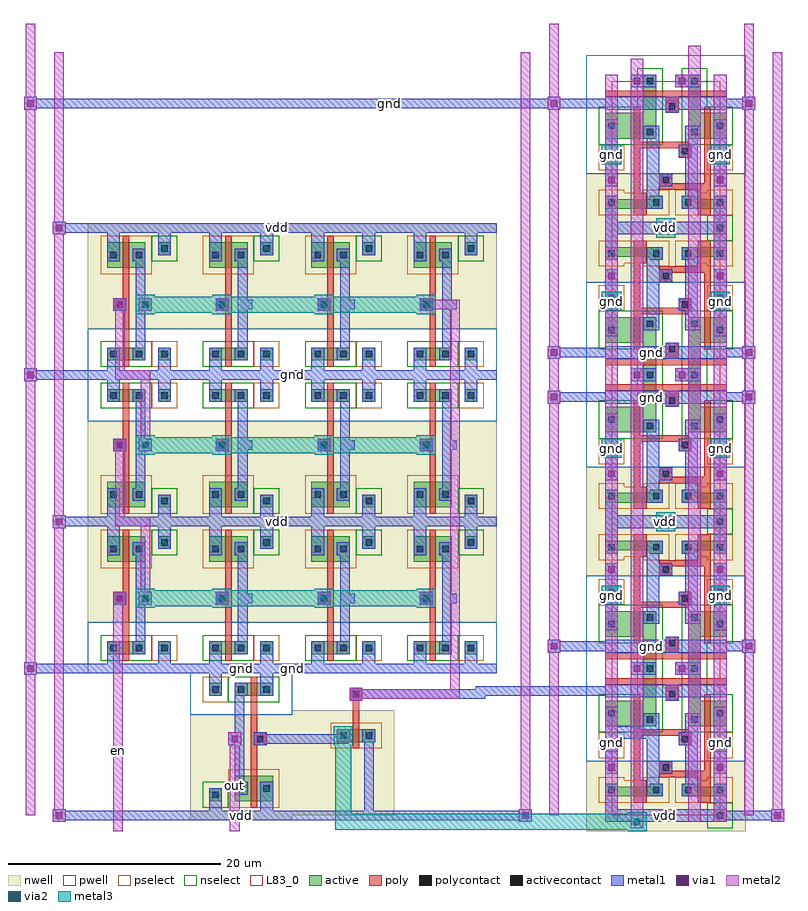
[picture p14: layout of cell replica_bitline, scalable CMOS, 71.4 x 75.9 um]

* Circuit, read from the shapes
.subckt replica_bitline en gnd out vdd
M1 delay_chain_2/pinv_9_1/A en gnd gnd nfet w=1.2u l=0.6u
M2 delay_chain_2/pinv_9_5/A delay_chain_2/pinv_9_1/A gnd gnd nfet w=1.2u l=0.6u
M3 pmos_m1_w1_2_1/G delay_chain_2/pinv_9_5/A gnd gnd nfet w=1.2u l=0.6u
M4 delay_chain_2/pinv_9_1/Z delay_chain_2/pinv_9_1/A gnd gnd nfet w=1.2u l=0.6u
M5 delay_chain_2/pinv_9_5/Z delay_chain_2/pinv_9_5/A gnd gnd nfet w=1.2u l=0.6u
M6 delay_chain_2/pinv_9_9/Z pmos_m1_w1_2_1/G gnd gnd nfet w=1.2u l=0.6u
M7 gnd pinv_10_0/A out gnd nfet w=1.2u l=0.6u
M8 delay_chain_2/pinv_9_2/Z delay_chain_2/pinv_9_1/A gnd gnd nfet w=1.2u l=0.6u
M9 delay_chain_2/pinv_9_6/Z delay_chain_2/pinv_9_5/A gnd gnd nfet w=1.2u l=0.6u
M10 delay_chain_2/pinv_9_10/Z pmos_m1_w1_2_1/G gnd gnd nfet w=1.2u l=0.6u
M11 delay_chain_2/pinv_9_3/Z delay_chain_2/pinv_9_1/A gnd gnd nfet w=1.2u l=0.6u
M12 delay_chain_2/pinv_9_7/Z delay_chain_2/pinv_9_5/A gnd gnd nfet w=1.2u l=0.6u
M13 delay_chain_2/pinv_9_11/Z pmos_m1_w1_2_1/G gnd gnd nfet w=1.2u l=0.6u
M14 gnd n1 gnd gnd nfet w=2.4u l=0.6u
M15 n2 n3 gnd gnd nfet w=2.4u l=0.6u
M16 n4 n5 gnd gnd nfet w=2.4u l=0.6u
M17 n6 n7 gnd gnd nfet w=2.4u l=0.6u
M18 n8 n9 gnd gnd nfet w=2.4u l=0.6u
M19 pinv_10_0/A pmos_m1_w1_2_1/G gnd gnd nfet w=1.2u l=0.6u
M20 n2 gnd pinv_10_0/A gnd nfet w=1.2u l=0.6u
M21 pinv_10_0/A gnd n4 gnd nfet w=1.2u l=0.6u
M22 n6 gnd pinv_10_0/A gnd nfet w=1.2u l=0.6u
M23 pinv_10_0/A gnd n8 gnd nfet w=1.2u l=0.6u
M24 replica_cell_6t_3/BR pmos_m1_w1_2_1/G n1 gnd nfet w=1.2u l=0.6u
M25 n3 gnd replica_cell_6t_3/BR gnd nfet w=1.2u l=0.6u
M26 replica_cell_6t_3/BR gnd n5 gnd nfet w=1.2u l=0.6u
M27 n7 gnd replica_cell_6t_3/BR gnd nfet w=1.2u l=0.6u
M28 replica_cell_6t_3/BR gnd n9 gnd nfet w=1.2u l=0.6u
M29 gnd gnd n1 gnd nfet w=2.4u l=0.6u
M30 gnd n2 n3 gnd nfet w=2.4u l=0.6u
M31 gnd n4 n5 gnd nfet w=2.4u l=0.6u
M32 gnd n6 n7 gnd nfet w=2.4u l=0.6u
M33 gnd n8 n9 gnd nfet w=2.4u l=0.6u
M34 delay_chain_2/pinv_9_1/A en vdd vdd pfet w=2.4u l=0.6u
M35 delay_chain_2/pinv_9_5/A delay_chain_2/pinv_9_1/A vdd vdd pfet w=2.4u l=0.6u
M36 pmos_m1_w1_2_1/G delay_chain_2/pinv_9_5/A vdd vdd pfet w=2.4u l=0.6u
M37 delay_chain_2/pinv_9_1/Z delay_chain_2/pinv_9_1/A vdd vdd pfet w=2.4u l=0.6u
M38 delay_chain_2/pinv_9_5/Z delay_chain_2/pinv_9_5/A vdd vdd pfet w=2.4u l=0.6u
M39 delay_chain_2/pinv_9_9/Z pmos_m1_w1_2_1/G vdd vdd pfet w=2.4u l=0.6u
M40 vdd pinv_10_0/A out vdd pfet w=2.4u l=0.6u
M41 delay_chain_2/pinv_9_2/Z delay_chain_2/pinv_9_1/A vdd vdd pfet w=2.4u l=0.6u
M42 delay_chain_2/pinv_9_6/Z delay_chain_2/pinv_9_5/A vdd vdd pfet w=2.4u l=0.6u
M43 delay_chain_2/pinv_9_10/Z pmos_m1_w1_2_1/G vdd vdd pfet w=2.4u l=0.6u
M44 vdd pmos_m1_w1_2_1/G pinv_10_0/A vdd pfet w=1.2u l=0.6u
M45 delay_chain_2/pinv_9_3/Z delay_chain_2/pinv_9_1/A vdd vdd pfet w=2.4u l=0.6u
M46 delay_chain_2/pinv_9_7/Z delay_chain_2/pinv_9_5/A vdd vdd pfet w=2.4u l=0.6u
M47 delay_chain_2/pinv_9_11/Z pmos_m1_w1_2_1/G vdd vdd pfet w=2.4u l=0.6u
M48 gnd n1 vdd vdd pfet w=0.9u l=1.2u
M49 n2 n3 vdd vdd pfet w=0.9u l=1.2u
M50 n4 n5 vdd vdd pfet w=0.9u l=1.2u
M51 n6 n7 vdd vdd pfet w=0.9u l=1.2u
M52 n8 n9 vdd vdd pfet w=0.9u l=1.2u
M53 vdd gnd n1 vdd pfet w=0.9u l=1.2u
M54 vdd n2 n3 vdd pfet w=0.9u l=1.2u
M55 vdd n4 n5 vdd pfet w=0.9u l=1.2u
M56 vdd n6 n7 vdd pfet w=0.9u l=1.2u
M57 vdd n8 n9 vdd pfet w=0.9u l=1.2u
.ends

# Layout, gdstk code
from math import pi, radians
import gdstk
lib = gdstk.Library(unit=1e-6, precision=1e-09)
def R(c, l, rs):  # rectangles x0, y0, x1, y1
    for r in rs: c.add(gdstk.rectangle(r[:2], r[2:], *l))
def A(c, l, x, y, w, h, nx, ny, dx, dy):  # array of equal rectangles
    R(c, l, [(x+i*dx, y+j*dy, x+i*dx+w, y+j*dy+h) for i in range(nx) for j in range(ny)])
pwell = (41, 0)
nwell = (42, 0)
active = (43, 0)
pselect = (44, 0)
nselect = (45, 0)
poly = (46, 0)
polycontact = (47, 0)
activecontact = (48, 0)
metal1 = (49, 0)
via1 = (50, 0)
metal2 = (51, 0)
via2 = (61, 0)
metal3 = (62, 0)
L83_0 = (83, 0)

active_contact_metal1_1x = lib.new_cell('active_contact_metal1_1x1_pn')
R(active_contact_metal1_1x, nwell, [(-1.8,-1.8,3,3)])
R(active_contact_metal1_1x, active, [(0,0,1.2,1.2)])
R(active_contact_metal1_1x, pselect, [(-0.6,-0.6,1.8,1.8)])
R(active_contact_metal1_1x, activecontact, [(0.3,0.3,0.9,0.9)])
R(active_contact_metal1_1x, metal1, [(0,0,1.2,1.2)])

pmos_m1_w2_4_a_p = lib.new_cell('pmos_m1_w2_4_a_p')
R(pmos_m1_w2_4_a_p, nwell, [(-1.8,-1.8,5.4,4.2)])
R(pmos_m1_w2_4_a_p, active, [(0,0,3.6,2.4)])
R(pmos_m1_w2_4_a_p, pselect, [(-0.6,-0.6,4.2,3)])
R(pmos_m1_w2_4_a_p, poly, [(1.5,-0.6,2.1,3), (1.5,-0.6,2.1,3)])
R(pmos_m1_w2_4_a_p, metal1, [(0,0.6,1.2,1.8), (2.4,0.6,3.6,1.8)])
pmos_m1_w2_4_a_p.add(gdstk.Reference(active_contact_metal1_1x, (0,0.6)))
pmos_m1_w2_4_a_p.add(gdstk.Reference(active_contact_metal1_1x, (2.4,0.6)))
pmos_m1_w2_4_a_p.add(gdstk.Label('G', (1.8,1.2), layer=46, texttype=0))
pmos_m1_w2_4_a_p.add(gdstk.Label('S', (0.6,1.2), layer=49, texttype=0))
pmos_m1_w2_4_a_p.add(gdstk.Label('D', (3,1.2), layer=49, texttype=0))

c_active_contact_metal1_1x = lib.new_cell('active_contact_metal1_1x1_np')
R(c_active_contact_metal1_1x, pwell, [(-1.8,-1.8,3,3)])
R(c_active_contact_metal1_1x, active, [(0,0,1.2,1.2)])
R(c_active_contact_metal1_1x, nselect, [(-0.6,-0.6,1.8,1.8)])
R(c_active_contact_metal1_1x, activecontact, [(0.3,0.3,0.9,0.9)])
R(c_active_contact_metal1_1x, metal1, [(0,0,1.2,1.2)])

nmos_m1_w1_2_a_p = lib.new_cell('nmos_m1_w1_2_a_p')
R(nmos_m1_w1_2_a_p, pwell, [(-1.8,-1.8,5.4,3)])
R(nmos_m1_w1_2_a_p, active, [(0,0,3.6,1.2)])
R(nmos_m1_w1_2_a_p, nselect, [(-0.6,-0.6,4.2,1.8)])
R(nmos_m1_w1_2_a_p, poly, [(1.5,-0.6,2.1,1.8), (1.5,-0.6,2.1,1.8)])
R(nmos_m1_w1_2_a_p, metal1, [(0,0,1.2,1.2), (2.4,0,3.6,1.2)])
nmos_m1_w1_2_a_p.add(gdstk.Reference(c_active_contact_metal1_1x, (0,0)))
nmos_m1_w1_2_a_p.add(gdstk.Reference(c_active_contact_metal1_1x, (2.4,0)))
nmos_m1_w1_2_a_p.add(gdstk.Label('G', (1.8,0.6), layer=46, texttype=0))
nmos_m1_w1_2_a_p.add(gdstk.Label('S', (0.6,0.6), layer=49, texttype=0))
nmos_m1_w1_2_a_p.add(gdstk.Label('D', (3,0.6), layer=49, texttype=0))

c_active_contact_metal1_1x_ = lib.new_cell('active_contact_metal1_1x1_nn')
R(c_active_contact_metal1_1x_, nwell, [(-1.8,-1.8,3,3)])
R(c_active_contact_metal1_1x_, active, [(0,0,1.2,1.2)])
R(c_active_contact_metal1_1x_, nselect, [(-0.6,-0.6,1.8,1.8)])
R(c_active_contact_metal1_1x_, activecontact, [(0.3,0.3,0.9,0.9)])
R(c_active_contact_metal1_1x_, metal1, [(0,0,1.2,1.2)])

c_active_contact_metal1_1x__ = lib.new_cell('active_contact_metal1_1x1_pp')
R(c_active_contact_metal1_1x__, pwell, [(-1.8,-1.8,3,3)])
R(c_active_contact_metal1_1x__, active, [(0,0,1.2,1.2)])
R(c_active_contact_metal1_1x__, pselect, [(-0.6,-0.6,1.8,1.8)])
R(c_active_contact_metal1_1x__, activecontact, [(0.3,0.3,0.9,0.9)])
R(c_active_contact_metal1_1x__, metal1, [(0,0,1.2,1.2)])

poly_contact_metal1_1x1 = lib.new_cell('poly_contact_metal1_1x1')
R(poly_contact_metal1_1x1, poly, [(0,0,1.2,1.2)])
R(poly_contact_metal1_1x1, polycontact, [(0.3,0.3,0.9,0.9)])
R(poly_contact_metal1_1x1, metal1, [(0,0,1.2,1.2)])

pinv_10 = lib.new_cell('pinv_10')
R(pinv_10, pwell, [(0,-0.45,9.6,4.35)])
R(pinv_10, nwell, [(0,4.35,9.6,14.25)])
R(pinv_10, poly, [(3.3,0.75,3.9,9.45), (3,6,3.3,7.2)])
R(pinv_10, metal1, [(0,-0.45,9.6,0.45), (1.8,-0.45,3,1.35), (6.6,0,7.8,1.95), (4.5,1.35,5.4,10.65), (2.4,6,3.6,7.2), (4.95,6.15,5.85,7.05), (1.8,10.65,3,14.25), (6.6,11.85,7.8,13.8), (0,13.35,9.6,14.25)])
pinv_10.add(gdstk.Reference(pmos_m1_w2_4_a_p, (1.8,10.05)))
pinv_10.add(gdstk.Reference(nmos_m1_w1_2_a_p, (1.8,1.35)))
pinv_10.add(gdstk.Reference(c_active_contact_metal1_1x_, (6.6,11.25)))
pinv_10.add(gdstk.Reference(c_active_contact_metal1_1x__, (6.6,1.35)))
pinv_10.add(gdstk.Reference(poly_contact_metal1_1x1, (2.4,6)))
pinv_10.add(gdstk.Label('gnd', (4.8,0), layer=49, texttype=0))
pinv_10.add(gdstk.Label('vdd', (4.8,13.8), layer=49, texttype=0))
pinv_10.add(gdstk.Label('A', (3,6.6), layer=49, texttype=0))
pinv_10.add(gdstk.Label('Z', (5.4,6.6), layer=49, texttype=0))

pmos_m1_w1_2 = lib.new_cell('pmos_m1_w1_2')
R(pmos_m1_w1_2, nwell, [(-1.8,-1.8,5.4,3)])
R(pmos_m1_w1_2, active, [(0,0,3.6,1.2)])
R(pmos_m1_w1_2, pselect, [(-0.6,-0.6,4.2,1.8)])
R(pmos_m1_w1_2, poly, [(1.5,-0.6,2.1,1.8), (1.5,-0.6,2.1,1.8)])
R(pmos_m1_w1_2, metal1, [(0,0,1.2,1.2), (2.4,0,3.6,1.2)])
pmos_m1_w1_2.add(gdstk.Reference(active_contact_metal1_1x, (0,0)))
pmos_m1_w1_2.add(gdstk.Reference(active_contact_metal1_1x, (2.4,0)))
pmos_m1_w1_2.add(gdstk.Label('G', (1.8,0.6), layer=46, texttype=0))
pmos_m1_w1_2.add(gdstk.Label('S', (0.6,0.6), layer=49, texttype=0))
pmos_m1_w1_2.add(gdstk.Label('D', (3,0.6), layer=49, texttype=0))

pinv_9 = lib.new_cell('pinv_9')
R(pinv_9, pwell, [(0,-0.45,9.6,4.35)])
R(pinv_9, nwell, [(0,4.35,9.6,14.25)])
R(pinv_9, poly, [(3.3,0.75,3.9,9.45), (3,6,3.3,7.2)])
R(pinv_9, metal1, [(0,-0.45,9.6,0.45), (1.8,-0.45,3,1.35), (6.6,0,7.8,1.95), (4.5,1.35,5.4,10.65), (2.4,6,3.6,7.2), (4.95,6.15,5.85,7.05), (1.8,10.65,3,14.25), (6.6,11.85,7.8,13.8), (0,13.35,9.6,14.25)])
pinv_9.add(gdstk.Reference(pmos_m1_w2_4_a_p, (1.8,10.05)))
pinv_9.add(gdstk.Reference(nmos_m1_w1_2_a_p, (1.8,1.35)))
pinv_9.add(gdstk.Reference(c_active_contact_metal1_1x_, (6.6,11.25)))
pinv_9.add(gdstk.Reference(c_active_contact_metal1_1x__, (6.6,1.35)))
pinv_9.add(gdstk.Reference(poly_contact_metal1_1x1, (2.4,6)))
pinv_9.add(gdstk.Label('gnd', (4.8,0), layer=49, texttype=0))
pinv_9.add(gdstk.Label('vdd', (4.8,13.8), layer=49, texttype=0))
pinv_9.add(gdstk.Label('A', (3,6.6), layer=49, texttype=0))
pinv_9.add(gdstk.Label('Z', (5.4,6.6), layer=49, texttype=0))

metal1_via1_metal2_1x1 = lib.new_cell('metal1_via1_metal2_1x1')
R(metal1_via1_metal2_1x1, metal1, [(0,0,1.2,1.2)])
R(metal1_via1_metal2_1x1, via1, [(0.3,0.3,0.9,0.9)])
R(metal1_via1_metal2_1x1, metal2, [(0,0,1.2,1.2)])

metal2_via2_metal3_1x1 = lib.new_cell('metal2_via2_metal3_1x1')
R(metal2_via2_metal3_1x1, metal2, [(0.3,0.3,1.5,1.5)])
R(metal2_via2_metal3_1x1, via2, [(0.6,0.6,1.2,1.2)])
R(metal2_via2_metal3_1x1, metal3, [(0,0,1.8,1.8)])

delay_chain = lib.new_cell('delay_chain')
A(delay_chain, metal1, 0, -0.45, 38.4, 0.9, 1, 4, 0, 13.8)
R(delay_chain, metal2, [(2.4,0,3.3,6.6), (34.05,0,34.95,34.2), (34.05,0,34.95,34.2), (4.95,6.6,5.85,13.8), (2.55,13.35,3.45,14.25), (3,13.35,5.4,14.25), (4.95,13.35,5.85,14.25), (2.55,13.8,3.45,21), (4.95,21,5.85,27.6), (2.55,27.15,3.45,28.05), (3,27.15,5.4,28.05), (4.95,27.15,5.85,28.05), (2.55,27.6,3.45,34.2), (31.8,33.75,34.5,34.65), (34.05,33.75,34.95,34.65)])
R(delay_chain, metal3, [(5.4,5.85,31.8,7.35), (5.4,20.25,31.8,21.75), (5.4,33.45,31.8,34.95)])
delay_chain.add(gdstk.Reference(pinv_9, (0,0)))
delay_chain.add(gdstk.Reference(pinv_9, (9.6,0)))
delay_chain.add(gdstk.Reference(pinv_9, (19.2,0)))
delay_chain.add(gdstk.Reference(pinv_9, (28.8,0)))
delay_chain.add(gdstk.Reference(pinv_9, (0,27.6), x_reflection=True))
delay_chain.add(gdstk.Reference(pinv_9, (9.6,27.6), x_reflection=True))
delay_chain.add(gdstk.Reference(pinv_9, (19.2,27.6), x_reflection=True))
delay_chain.add(gdstk.Reference(pinv_9, (28.8,27.6), x_reflection=True))
delay_chain.add(gdstk.Reference(pinv_9, (0,27.6)))
delay_chain.add(gdstk.Reference(pinv_9, (9.6,27.6)))
delay_chain.add(gdstk.Reference(pinv_9, (19.2,27.6)))
delay_chain.add(gdstk.Reference(pinv_9, (28.8,27.6)))
delay_chain.add(gdstk.Reference(metal1_via1_metal2_1x1, (12,6)))
delay_chain.add(gdstk.Reference(metal2_via2_metal3_1x1, (11.7,5.7)))
delay_chain.add(gdstk.Reference(metal1_via1_metal2_1x1, (21.6,6)))
delay_chain.add(gdstk.Reference(metal2_via2_metal3_1x1, (21.3,5.7)))
delay_chain.add(gdstk.Reference(metal1_via1_metal2_1x1, (31.2,6)))
delay_chain.add(gdstk.Reference(metal2_via2_metal3_1x1, (30.9,5.7)))
delay_chain.add(gdstk.Reference(metal1_via1_metal2_1x1, (2.4,6)))
delay_chain.add(gdstk.Reference(metal1_via1_metal2_1x1, (4.8,6)))
delay_chain.add(gdstk.Reference(metal2_via2_metal3_1x1, (4.5,5.7)))
delay_chain.add(gdstk.Reference(metal1_via1_metal2_1x1, (12,20.4)))
delay_chain.add(gdstk.Reference(metal2_via2_metal3_1x1, (11.7,20.1)))
delay_chain.add(gdstk.Reference(metal1_via1_metal2_1x1, (21.6,20.4)))
delay_chain.add(gdstk.Reference(metal2_via2_metal3_1x1, (21.3,20.1)))
delay_chain.add(gdstk.Reference(metal1_via1_metal2_1x1, (31.2,20.4)))
delay_chain.add(gdstk.Reference(metal2_via2_metal3_1x1, (30.9,20.1)))
delay_chain.add(gdstk.Reference(metal1_via1_metal2_1x1, (2.4,20.4)))
delay_chain.add(gdstk.Reference(metal1_via1_metal2_1x1, (4.8,20.4)))
delay_chain.add(gdstk.Reference(metal2_via2_metal3_1x1, (4.5,20.1)))
delay_chain.add(gdstk.Reference(metal1_via1_metal2_1x1, (12,33.6)))
delay_chain.add(gdstk.Reference(metal2_via2_metal3_1x1, (11.7,33.3)))
delay_chain.add(gdstk.Reference(metal1_via1_metal2_1x1, (21.6,33.6)))
delay_chain.add(gdstk.Reference(metal2_via2_metal3_1x1, (21.3,33.3)))
delay_chain.add(gdstk.Reference(metal1_via1_metal2_1x1, (31.2,33.6)))
delay_chain.add(gdstk.Reference(metal2_via2_metal3_1x1, (30.9,33.3)))
delay_chain.add(gdstk.Reference(metal1_via1_metal2_1x1, (2.4,33.6)))
delay_chain.add(gdstk.Reference(metal1_via1_metal2_1x1, (4.8,33.6)))
delay_chain.add(gdstk.Reference(metal2_via2_metal3_1x1, (4.5,33.3)))
delay_chain.add(gdstk.Reference(metal1_via1_metal2_1x1, (2.4,6)))
delay_chain.add(gdstk.Reference(metal1_via1_metal2_1x1, (31.2,33.6)))
delay_chain.add(gdstk.Label('vdd', (19.2,13.8), layer=49, texttype=0))
delay_chain.add(gdstk.Label('vdd', (19.2,41.4), layer=49, texttype=0))
delay_chain.add(gdstk.Label('gnd', (19.2,0), layer=49, texttype=0))
delay_chain.add(gdstk.Label('gnd', (19.2,27.6), layer=49, texttype=0))
delay_chain.add(gdstk.Label('in', (2.85,3.3), layer=51, texttype=0))
delay_chain.add(gdstk.Label('out', (34.5,17.1), layer=51, texttype=0))

replica_cell_6t = lib.new_cell('replica_cell_6t')
R(replica_cell_6t, pwell, [(-2.4,-2.4,12.6,8.7)])
R(replica_cell_6t, nwell, [(-2.4,8.7,12.6,15.3)])
A(replica_cell_6t, active, 3.6, 10.8, 1.2, 0.3, 3, 1, 3, 0)
R(replica_cell_6t, active, [(3,-0.6,4.2,3), (7.2,-0.6,8.4,3), (-0.6,3,4.2,5.4), (7.2,3,10.8,5.4), (-0.6,6.6,0.6,7.8), (9.6,6.6,10.8,7.8), (-0.6,10.8,0.6,11.1), (-0.6,11.1,4.8,12), (6.6,11.1,10.8,12), (9.6,13.2,10.8,14.4)])
A(replica_cell_6t, pselect, 3, 10.2, 2.4, 0.3, 3, 1, 3, 0)
R(replica_cell_6t, pselect, [(-1.2,6,1.2,8.4), (9,6,11.4,8.4), (-1.2,10.2,1.2,10.5), (-1.2,10.5,5.4,12.6), (6,10.5,11.4,12.6)])
R(replica_cell_6t, nselect, [(2.4,-1.2,4.8,2.4), (6.6,-1.2,9,2.4), (-1.2,2.4,4.8,6), (6.6,2.4,11.4,6), (9,12.6,11.4,15)])
R(replica_cell_6t, poly, [(-0.6,0.9,10.8,1.5), (5.1,1.5,6.3,3), (2.1,2.4,2.7,5.7), (8.7,2.4,9.3,9.6), (2.1,5.7,7.2,6), (2.1,6,7.5,6.3), (2.1,6.3,2.7,10.5), (6.3,6.3,7.5,7.2), (4.5,8.7,5.7,9.6), (4.5,9.6,9.3,10.2), (8.1,10.2,9.3,12.6), (2.1,10.5,3.3,12.6)])
R(replica_cell_6t, polycontact, [(5.4,2.1,6,2.7), (6.6,6.3,7.2,6.9), (4.8,9,5.4,9.6)])
A(replica_cell_6t, activecontact, 3.9, 11.1, 0.6, 0.6, 3, 1, 3, 0)
R(replica_cell_6t, activecontact, [(3.3,-0.3,3.9,0.3), (7.5,-0.3,8.1,0.3), (-0.3,3.9,0.3,4.5), (9.9,3.9,10.5,4.5), (3.3,4.5,3.9,5.1), (7.5,4.5,8.1,5.1), (-0.3,6.9,0.3,7.5), (9.9,6.9,10.5,7.5), (-0.3,11.1,0.3,11.7), (9.9,13.5,10.5,14.1)])
R(replica_cell_6t, metal1, [(1.8,-0.6,4.2,0.6), (6,-0.6,8.4,0.6), (-0.6,1.5,10.8,2.7), (-0.6,1.5,10.8,2.7), (5.1,2.7,6.3,3), (-0.6,3.6,0.6,5.4), (9.6,3.6,10.8,9.9), (3,4.2,4.5,5.4), (6.9,4.2,8.4,5.4), (-0.6,5.4,4.5,6.6), (6.9,5.4,8.1,6), (6.3,6,8.1,7.2), (-0.6,6.6,0.6,9.9), (3.3,6.6,4.5,8.7), (6.9,7.2,8.1,10.8), (3.3,8.7,5.7,9.9), (3.3,9.9,4.5,10.8), (-0.6,10.8,0.6,13.2), (3.3,10.8,4.8,12), (6.6,10.8,8.1,12), (9.6,10.8,10.8,13.2), (-0.6,13.2,10.8,14.4)])
R(replica_cell_6t, via1, [(2.1,-0.3,2.7,0.3), (6.3,-0.3,6.9,0.3), (-0.3,9,0.3,9.6), (9.9,9,10.5,9.6), (4.8,13.5,5.4,14.1)])
R(replica_cell_6t, metal2, [(-0.6,-0.6,0.6,14.4), (-0.6,-0.6,0.6,14.4), (1.8,-0.6,3,14.4), (1.8,-0.6,3,14.4), (6,-0.6,8.4,0.6), (9.6,-0.6,10.8,14.4), (9.6,-0.6,10.8,14.4), (7.2,0.6,8.4,14.4), (7.2,0.6,8.4,14.4), (4.5,13.2,5.7,14.4), (4.5,13.2,5.7,14.4)])
R(replica_cell_6t, L83_0, [(0,0,10.2,13.8)])
replica_cell_6t.add(gdstk.Label('gnd', (0,0), layer=51, texttype=0))
replica_cell_6t.add(gdstk.Label('gnd', (10.2,0), layer=51, texttype=0))
replica_cell_6t.add(gdstk.Label('vdd', (5.1,13.8), layer=51, texttype=0))
replica_cell_6t.add(gdstk.Label('WL', (1.2,2.1), layer=49, texttype=0))
replica_cell_6t.add(gdstk.Label('BL', (2.4,12.9), layer=51, texttype=0))
replica_cell_6t.add(gdstk.Label('BR', (7.8,12.9), layer=51, texttype=0))
replica_cell_6t.add(gdstk.Label('BL', (2.4,6.9), layer=51, texttype=0))
replica_cell_6t.add(gdstk.Label('BR', (7.8,7.5), layer=51, texttype=0))
replica_cell_6t.add(gdstk.Label('WL', (5.1,2.1), layer=49, texttype=0))
replica_cell_6t.add(gdstk.Label('vdd', (5.1,13.8), layer=51, texttype=0))
replica_cell_6t.add(gdstk.Label('gnd', (0,6.9), layer=51, texttype=0))
replica_cell_6t.add(gdstk.Label('gnd', (10.2,6.9), layer=51, texttype=0))

cell_6t = lib.new_cell('cell_6t')
R(cell_6t, pwell, [(-2.4,-2.4,12.6,8.7)])
R(cell_6t, nwell, [(-2.4,8.7,12.6,15.3)])
A(cell_6t, active, 3.6, 10.8, 1.2, 0.3, 3, 1, 3, 0)
R(cell_6t, active, [(3,-0.6,4.2,3), (7.2,-0.6,8.4,3), (-0.6,3,4.2,5.4), (7.2,3,10.8,5.4), (-0.6,6.6,0.6,7.8), (9.6,6.6,10.8,7.8), (-0.6,10.8,0.6,11.1), (-0.6,11.1,4.8,12), (6.6,11.1,10.8,12), (9.6,13.2,10.8,14.4)])
A(cell_6t, pselect, 3, 10.2, 2.4, 0.3, 3, 1, 3, 0)
R(cell_6t, pselect, [(-1.2,6,1.2,8.4), (9,6,11.4,8.4), (-1.2,10.2,1.2,10.5), (-1.2,10.5,5.4,12.6), (6,10.5,11.4,12.6)])
R(cell_6t, nselect, [(2.4,-1.2,4.8,2.4), (6.6,-1.2,9,2.4), (-1.2,2.4,4.8,6), (6.6,2.4,11.4,6), (9,12.6,11.4,15)])
R(cell_6t, poly, [(-0.6,0.9,10.8,1.5), (5.1,1.5,6.3,3), (2.1,2.4,2.7,5.7), (8.7,2.4,9.3,9.6), (2.1,5.7,7.2,6), (2.1,6,7.5,6.3), (2.1,6.3,2.7,10.5), (6.3,6.3,7.5,7.2), (4.5,8.7,5.7,9.6), (4.5,9.6,9.3,10.2), (8.1,10.2,9.3,12.6), (2.1,10.5,3.3,12.6)])
R(cell_6t, polycontact, [(5.4,2.1,6,2.7), (6.6,6.3,7.2,6.9), (4.8,9,5.4,9.6)])
A(cell_6t, activecontact, 3.9, 11.1, 0.6, 0.6, 3, 1, 3, 0)
R(cell_6t, activecontact, [(3.3,-0.3,3.9,0.3), (7.5,-0.3,8.1,0.3), (-0.3,3.9,0.3,4.5), (9.9,3.9,10.5,4.5), (3.3,4.5,3.9,5.1), (7.5,4.5,8.1,5.1), (-0.3,6.9,0.3,7.5), (9.9,6.9,10.5,7.5), (-0.3,11.1,0.3,11.7), (9.9,13.5,10.5,14.1)])
R(cell_6t, metal1, [(1.8,-0.6,4.2,0.6), (6,-0.6,8.4,0.6), (-0.6,1.5,10.8,2.7), (-0.6,1.5,10.8,2.7), (5.1,2.7,6.3,3), (-0.6,3.6,0.6,9.9), (9.6,3.6,10.8,9.9), (3,4.2,4.5,5.4), (6.9,4.2,8.4,5.4), (3.3,5.4,4.5,8.7), (6.9,5.4,8.1,6), (6.3,6,8.1,7.2), (6.9,7.2,8.1,10.8), (3.3,8.7,5.7,9.9), (3.3,9.9,4.5,10.8), (-0.6,10.8,0.6,13.2), (3.3,10.8,4.8,12), (6.6,10.8,8.1,12), (9.6,10.8,10.8,13.2), (-0.6,13.2,10.8,14.4)])
R(cell_6t, via1, [(2.1,-0.3,2.7,0.3), (6.3,-0.3,6.9,0.3), (-0.3,9,0.3,9.6), (9.9,9,10.5,9.6), (4.8,13.5,5.4,14.1)])
R(cell_6t, metal2, [(-0.6,-0.6,0.6,14.4), (-0.6,-0.6,0.6,14.4), (1.8,-0.6,3,14.4), (1.8,-0.6,3,14.4), (6,-0.6,8.4,0.6), (9.6,-0.6,10.8,14.4), (9.6,-0.6,10.8,14.4), (7.2,0.6,8.4,14.4), (7.2,0.6,8.4,14.4), (4.5,13.2,5.7,14.4), (4.5,13.2,5.7,14.4)])
R(cell_6t, L83_0, [(0,0,10.2,13.8)])
cell_6t.add(gdstk.Label('wl', (1.2,2.1), layer=49, texttype=0))
cell_6t.add(gdstk.Label('br', (7.8,12.9), layer=51, texttype=0))
cell_6t.add(gdstk.Label('bl', (2.4,12.9), layer=51, texttype=0))
cell_6t.add(gdstk.Label('vdd', (5.1,13.8), layer=51, texttype=0))
cell_6t.add(gdstk.Label('gnd', (10.2,0), layer=51, texttype=0))
cell_6t.add(gdstk.Label('gnd', (0,0), layer=51, texttype=0))
cell_6t.add(gdstk.Label('bl', (2.4,6.9), layer=51, texttype=0))
cell_6t.add(gdstk.Label('br', (7.8,7.5), layer=51, texttype=0))
cell_6t.add(gdstk.Label('wl', (5.1,2.1), layer=49, texttype=0))
cell_6t.add(gdstk.Label('vdd', (5.1,13.8), layer=51, texttype=0))
cell_6t.add(gdstk.Label('gnd', (10.2,6.9), layer=51, texttype=0))
cell_6t.add(gdstk.Label('gnd', (0,6.9), layer=51, texttype=0))

bitline_load = lib.new_cell('bitline_load')
R(bitline_load, metal1, [(-0.6,1.5,10.5,2.7), (-0.6,24.9,10.5,26.1), (-0.6,29.1,10.5,30.3), (-0.6,52.5,10.5,53.7)])
R(bitline_load, metal2, [(1.8,-0.6,3,57.3), (7.2,0.6,8.4,58.5)])
A(bitline_load, metal3, -0.75, 6.15, 1.5, 1.5, 1, 4, 0, 13.8)
A(bitline_load, metal3, 9.45, 6.15, 1.5, 1.5, 1, 4, 0, 13.8)
R(bitline_load, metal3, [(4.35,13.05,5.85,14.55), (4.35,40.65,5.85,42.15)])
bitline_load.add(gdstk.Reference(cell_6t, (0,0)))
bitline_load.add(gdstk.Reference(cell_6t, (0,27.6), x_reflection=True))
bitline_load.add(gdstk.Reference(cell_6t, (0,27.6)))
bitline_load.add(gdstk.Reference(cell_6t, (0,55.2), x_reflection=True))
bitline_load.add(gdstk.Reference(metal2_via2_metal3_1x1, (4.2,12.9)))
bitline_load.add(gdstk.Reference(metal2_via2_metal3_1x1, (4.2,12.9)))
bitline_load.add(gdstk.Reference(metal2_via2_metal3_1x1, (4.2,40.5)))
bitline_load.add(gdstk.Reference(metal2_via2_metal3_1x1, (4.2,40.5)))
bitline_load.add(gdstk.Reference(metal2_via2_metal3_1x1, (9.3,6)))
bitline_load.add(gdstk.Reference(metal2_via2_metal3_1x1, (-0.9,6)))
bitline_load.add(gdstk.Reference(metal2_via2_metal3_1x1, (9.3,19.8)))
bitline_load.add(gdstk.Reference(metal2_via2_metal3_1x1, (-0.9,19.8)))
bitline_load.add(gdstk.Reference(metal2_via2_metal3_1x1, (9.3,33.6)))
bitline_load.add(gdstk.Reference(metal2_via2_metal3_1x1, (-0.9,33.6)))
bitline_load.add(gdstk.Reference(metal2_via2_metal3_1x1, (9.3,47.4)))
bitline_load.add(gdstk.Reference(metal2_via2_metal3_1x1, (-0.9,47.4)))
bitline_load.add(gdstk.Label('bl[0]', (2.4,28.35), layer=51, texttype=0))
bitline_load.add(gdstk.Label('br[0]', (7.8,29.55), layer=51, texttype=0))
bitline_load.add(gdstk.Label('wl[0]', (4.95,2.1), layer=49, texttype=0))
bitline_load.add(gdstk.Label('wl[1]', (4.95,25.5), layer=49, texttype=0))
bitline_load.add(gdstk.Label('wl[2]', (4.95,29.7), layer=49, texttype=0))
bitline_load.add(gdstk.Label('wl[3]', (4.95,53.1), layer=49, texttype=0))
bitline_load.add(gdstk.Label('vdd', (5.1,13.8), layer=62, texttype=0))
bitline_load.add(gdstk.Label('vdd', (5.1,41.4), layer=62, texttype=0))
bitline_load.add(gdstk.Label('gnd', (10.2,6.9), layer=62, texttype=0))
bitline_load.add(gdstk.Label('gnd', (0,6.9), layer=62, texttype=0))
bitline_load.add(gdstk.Label('gnd', (10.2,20.7), layer=62, texttype=0))
bitline_load.add(gdstk.Label('gnd', (0,20.7), layer=62, texttype=0))
bitline_load.add(gdstk.Label('gnd', (10.2,34.5), layer=62, texttype=0))
bitline_load.add(gdstk.Label('gnd', (0,34.5), layer=62, texttype=0))
bitline_load.add(gdstk.Label('gnd', (10.2,48.3), layer=62, texttype=0))
bitline_load.add(gdstk.Label('gnd', (0,48.3), layer=62, texttype=0))

replica_bitline = lib.new_cell('replica_bitline')
R(replica_bitline, nwell, [(25.2,1.5,34.8,11.4)])
R(replica_bitline, poly, [(30.9,10.2,31.5,12.9)])
A(replica_bitline, metal1, 6, 14.85, 38.4, 0.9, 1, 4, 0, 13.8)
R(replica_bitline, metal1, [(3.3,1.05,47.1,1.95), (15.6,1.05,25.2,1.95), (59.7,1.05,70.8,1.95), (31.95,1.5,32.85,9), (22.2,8.25,30,9.15), (29.55,8.25,30.45,9.15), (29.55,8.7,30.45,9), (31.2,12.45,42.9,13.35), (42.45,12.45,43.35,13.35), (42.45,12.75,43.35,13.65), (42.9,12.75,54.6,13.65), (42.45,12.9,43.35,13.2), (0.6,14.85,44.4,15.75), (15.6,14.85,25.2,15.75), (49.8,16.95,68.1,17.85), (3.3,28.65,44.4,29.55), (49.8,40.35,68.1,41.25), (0.6,42.45,44.4,43.35), (49.8,44.55,68.1,45.45), (3.3,56.25,44.4,57.15), (0.6,67.95,68.1,68.85)])
R(replica_bitline, metal2, [(8.4,0,9.3,15.3), (19.35,0,20.25,8.7), (54.6,0.9,55.8,15.9), (59.7,0.9,60.9,2.1), (64.8,0.9,66,15.9), (0.15,1.5,1.05,75.9), (2.85,1.5,3.75,73.2), (46.65,1.5,47.55,73.2), (49.35,1.5,50.25,75.9), (67.65,1.5,68.55,75.9), (70.35,1.5,71.25,73.2), (31.2,12.45,40.5,13.35), (40.05,12.45,40.95,13.35), (40.05,12.9,40.95,15.3)])
A(replica_bitline, metal3, 54.45, 21.45, 1.5, 1.5, 1, 4, 0, 13.8)
A(replica_bitline, metal3, 64.65, 21.45, 1.5, 1.5, 1, 4, 0, 13.8)
R(replica_bitline, metal3, [(29.25,0.15,30.75,1.65), (30,0.15,57.6,1.65), (29.25,0.9,30.75,9), (59.55,28.35,61.05,29.85), (59.55,55.95,61.05,57.45)])
replica_bitline.add(gdstk.Reference(pinv_10, (25.2,15.3), rotation=pi))
replica_bitline.add(gdstk.Reference(pmos_m1_w1_2, (29.4,8.4)))
replica_bitline.add(gdstk.Reference(delay_chain, (6,15.3)))
replica_bitline.add(gdstk.Reference(replica_cell_6t, (55.2,15.3), x_reflection=True))
replica_bitline.add(gdstk.Reference(bitline_load, (55.2,15.3)))
replica_bitline.add(gdstk.Reference(metal1_via1_metal2_1x1, (3.9,28.5), rotation=pi/2))
replica_bitline.add(gdstk.Reference(metal1_via1_metal2_1x1, (3.9,56.1), rotation=pi/2))
replica_bitline.add(gdstk.Reference(metal1_via1_metal2_1x1, (3.9,0.9), rotation=pi/2))
replica_bitline.add(gdstk.Reference(metal1_via1_metal2_1x1, (47.7,0.9), rotation=pi/2))
replica_bitline.add(gdstk.Reference(metal1_via1_metal2_1x1, (71.4,0.9), rotation=pi/2))
replica_bitline.add(gdstk.Reference(metal1_via1_metal2_1x1, (50.4,16.8), rotation=pi/2))
replica_bitline.add(gdstk.Reference(metal1_via1_metal2_1x1, (68.7,16.8), rotation=pi/2))
replica_bitline.add(gdstk.Reference(metal1_via1_metal2_1x1, (50.4,40.2), rotation=pi/2))
replica_bitline.add(gdstk.Reference(metal1_via1_metal2_1x1, (68.7,40.2), rotation=pi/2))
replica_bitline.add(gdstk.Reference(metal1_via1_metal2_1x1, (50.4,44.4), rotation=pi/2))
replica_bitline.add(gdstk.Reference(metal1_via1_metal2_1x1, (68.7,44.4), rotation=pi/2))
replica_bitline.add(gdstk.Reference(metal1_via1_metal2_1x1, (1.2,67.8), rotation=pi/2))
replica_bitline.add(gdstk.Reference(metal1_via1_metal2_1x1, (50.4,67.8), rotation=pi/2))
replica_bitline.add(gdstk.Reference(metal1_via1_metal2_1x1, (68.7,67.8), rotation=pi/2))
replica_bitline.add(gdstk.Reference(metal1_via1_metal2_1x1, (1.2,14.7), rotation=pi/2))
replica_bitline.add(gdstk.Reference(metal1_via1_metal2_1x1, (1.2,42.3), rotation=pi/2))
replica_bitline.add(gdstk.Reference(poly_contact_metal1_1x1, (30.6,12.3)))
replica_bitline.add(gdstk.Reference(metal1_via1_metal2_1x1, (30.6,12.3)))
replica_bitline.add(gdstk.Reference(metal1_via1_metal2_1x1, (29.4,8.4)))
replica_bitline.add(gdstk.Reference(metal2_via2_metal3_1x1, (29.1,8.1)))
replica_bitline.add(gdstk.Reference(metal2_via2_metal3_1x1, (56.7,0)))
replica_bitline.add(gdstk.Reference(metal1_via1_metal2_1x1, (19.2,8.1)))
replica_bitline.add(gdstk.Label('vdd', (23.85,29.1), layer=49, texttype=0))
replica_bitline.add(gdstk.Label('vdd', (23.85,56.7), layer=49, texttype=0))
replica_bitline.add(gdstk.Label('vdd', (60.3,29.1), layer=62, texttype=0))
replica_bitline.add(gdstk.Label('vdd', (60.3,56.7), layer=62, texttype=0))
replica_bitline.add(gdstk.Label('vdd', (20.4,1.5), layer=49, texttype=0))
replica_bitline.add(gdstk.Label('vdd', (60.3,1.5), layer=51, texttype=0))
replica_bitline.add(gdstk.Label('vdd', (25.2,29.1), layer=49, texttype=0))
replica_bitline.add(gdstk.Label('vdd', (25.2,56.7), layer=49, texttype=0))
replica_bitline.add(gdstk.Label('gnd', (58.95,17.4), layer=49, texttype=0))
replica_bitline.add(gdstk.Label('gnd', (58.95,40.8), layer=49, texttype=0))
replica_bitline.add(gdstk.Label('gnd', (58.95,45), layer=49, texttype=0))
replica_bitline.add(gdstk.Label('gnd', (34.35,68.4), layer=49, texttype=0))
replica_bitline.add(gdstk.Label('gnd', (65.4,22.2), layer=62, texttype=0))
replica_bitline.add(gdstk.Label('gnd', (55.2,22.2), layer=62, texttype=0))
replica_bitline.add(gdstk.Label('gnd', (65.4,36), layer=62, texttype=0))
replica_bitline.add(gdstk.Label('gnd', (55.2,36), layer=62, texttype=0))
replica_bitline.add(gdstk.Label('gnd', (65.4,49.8), layer=62, texttype=0))
replica_bitline.add(gdstk.Label('gnd', (55.2,49.8), layer=62, texttype=0))
replica_bitline.add(gdstk.Label('gnd', (65.4,63.6), layer=62, texttype=0))
replica_bitline.add(gdstk.Label('gnd', (55.2,63.6), layer=62, texttype=0))
replica_bitline.add(gdstk.Label('gnd', (20.4,15.3), layer=49, texttype=0))
replica_bitline.add(gdstk.Label('gnd', (55.2,8.4), layer=51, texttype=0))
replica_bitline.add(gdstk.Label('gnd', (65.4,8.4), layer=51, texttype=0))
replica_bitline.add(gdstk.Label('gnd', (25.2,15.3), layer=49, texttype=0))
replica_bitline.add(gdstk.Label('gnd', (25.2,42.9), layer=49, texttype=0))
replica_bitline.add(gdstk.Label('en', (8.85,7.65), layer=51, texttype=0))
replica_bitline.add(gdstk.Label('out', (19.8,4.35), layer=51, texttype=0))

lib.write_gds('replica_bitline.gds')
